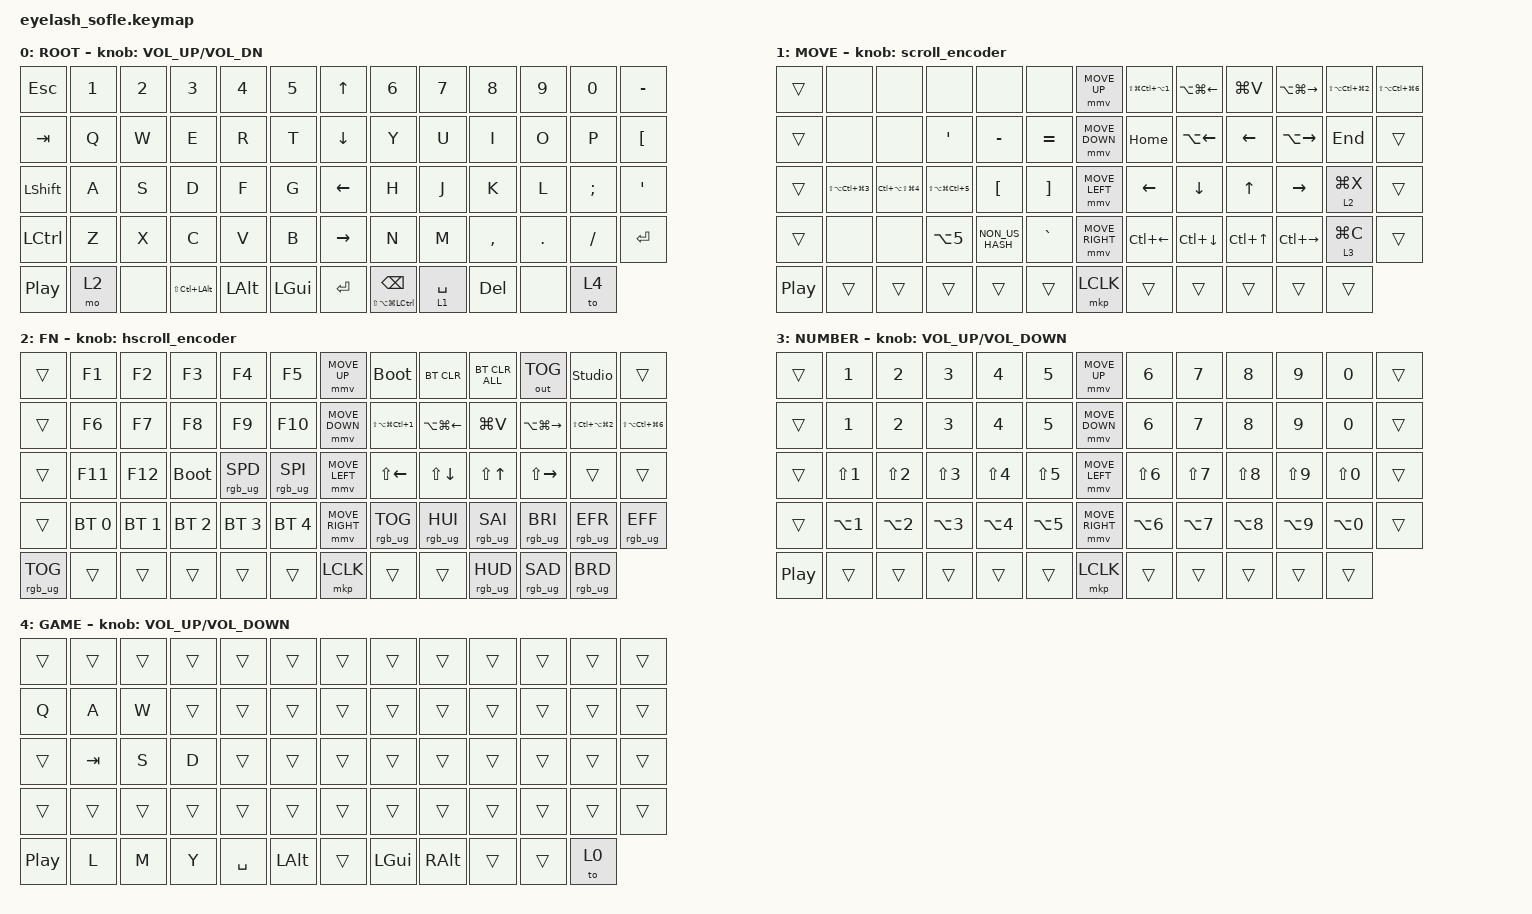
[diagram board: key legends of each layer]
#define ZMK_POINTING_DEFAULT_MOVE_VAL 1200  // 600
#define ZMK_POINTING_DEFAULT_SCRL_VAL 25   // 10

#include <input/processors.dtsi>
#include <zephyr/dt-bindings/input/input-event-codes.h>
#include <behaviors.dtsi>
#include <dt-bindings/zmk/bt.h>
#include <dt-bindings/zmk/keys.h>
#include <dt-bindings/zmk/outputs.h>
#include <dt-bindings/zmk/pointing.h>
#include <dt-bindings/zmk/rgb.h>

&mmv_input_listener { input-processors = <&zip_xy_scaler 2 1>; };

&msc_input_listener { input-processors = <&zip_scroll_scaler 2 1>; };

&msc {
    acceleration-exponent = <1>;      // 0
    time-to-max-speed-ms = <100>;       // 300
    delay-ms = <0>;                   // 0
};

&mmv {
    time-to-max-speed-ms = <500>;
    acceleration-exponent = <1>;
    trigger-period-ms = <16>;
};

&soft_off { hold-time-ms = <2000>; };

/ {
    scroll_encoder: scroll_encoder {
        compatible = "zmk,behavior-sensor-rotate";
        #sensor-binding-cells = <0>;
        bindings = <&msc SCRL_DOWN>, <&msc SCRL_UP>;

        tap-ms = <100>;
    };

    hscroll_encoder: hscroll_encoder {
        compatible = "zmk,behavior-sensor-rotate";
        #sensor-binding-cells = <0>;
        bindings = <&msc SCRL_RIGHT>, <&msc SCRL_LEFT>;

        tap-ms = <100>;
    };

    behaviors {
    };

    combos {
        compatible = "zmk,combos";

        game {
            bindings = <&tog 4>;
            key-positions = <0 12>;
        };

        mo_number {
            bindings = <&mo 3>;
            key-positions = <56 60>;
        };

        mo_game {
            bindings = <&mo 4>;
            key-positions = <59 38>;
        };

        soft_off {
            bindings = <&soft_off>;
            key-positions = <14 28 40>;
        };
    };

    macros {
        SHIFT_MCLK: SHIFT_MCLK {
            compatible = "zmk,behavior-macro";
            #binding-cells = <0>;
            bindings =
                <&macro_press>,
                <&kp LEFT_SHIFT>,
                <&macro_press>,
                <&mkp MB3>,
                <&macro_pause_for_release>,
                <&macro_release>,
                <&kp LEFT_SHIFT &mkp MB3>;

            label = "SHIFT_MCLK";
        };
    };

    keymap {
        compatible = "zmk,keymap";

        root {
            bindings = <
&kp ESC           &kp N1  &kp N2  &kp N3                &kp N4    &kp N5      &kp UP_ARROW     &kp N6                                  &kp N7       &kp N8      &kp N9   &kp N0    &kp MINUS
&kp TAB           &kp Q   &kp W   &kp E                 &kp R     &kp T       &kp DOWN_ARROW   &kp Y                                   &kp U        &kp I       &kp O    &kp P     &kp LBKT
&kp LSHFT         &kp A   &kp S   &kp D                 &kp F     &kp G       &kp LEFT_ARROW   &kp H                                   &kp J        &kp K       &kp L    &kp SEMI  &kp APOS
&kp LCTRL         &kp Z   &kp X   &kp C                 &kp V     &kp B       &kp RIGHT_ARROW  &kp N                                   &kp M        &kp COMMA   &kp DOT  &kp FSLH  &kp ENTER
&kp C_PLAY_PAUSE  &mo 2   &none   &kp LS(LC(LEFT_ALT))  &kp LALT  &kp LGUI    &kp ENTER        &mt LS(LA(LG(LEFT_CONTROL))) BACKSPACE  &lt 1 SPACE  &kp DELETE  &none    &to 4
            >;

            sensor-bindings = <&inc_dec_kp C_VOLUME_UP C_VOL_DN>;
            display-name = "ROOT";
        };

        move {
            bindings = <
&trans            &none                   &none                   &none                   &none            &none        &mmv MOVE_UP     &kp LS(LG(LC(LA(N1))))  &kp LA(LG(LEFT_ARROW))  &kp LG(V)   &kp LA(LG(RIGHT_ARROW))  &kp LS(LA(LC(LG(N2))))  &kp LS(LA(LC(LG(N6))))
&trans            &none                   &none                   &kp APOS                &kp MINUS        &kp EQUAL    &mmv MOVE_DOWN   &kp HOME                &kp LA(LEFT)            &kp LEFT    &kp LA(RIGHT_ARROW)      &kp END                 &trans
&trans            &kp LS(LA(LC(LG(N3))))  &kp LC(LA(LS(LG(N4))))  &kp LS(LA(LG(LC(N5))))  &kp LBKT         &kp RBKT     &mmv MOVE_LEFT   &kp LEFT                &kp DOWN                &kp UP      &kp RIGHT                &lt 2 LG(X)             &trans
&trans            &none                   &none                   &kp LA(N5)              &kp NON_US_HASH  &kp GRAVE    &mmv MOVE_RIGHT  &kp LC(LEFT)            &kp LC(DOWN)            &kp LC(UP)  &kp LC(RIGHT)            &lt 3 LG(C)             &trans
&kp C_PLAY_PAUSE  &trans                  &trans                  &trans                  &trans           &trans       &mkp LCLK        &trans                  &trans                  &trans      &trans                   &trans
            >;

            display-name = "MOVE";
            sensor-bindings = <&scroll_encoder>;
        };

        fn {
            bindings = <
&trans           &kp F1        &kp F2        &kp F3        &kp F4           &kp F5             &mmv MOVE_UP     &bootloader             &bt BT_CLR              &bt BT_CLR_ALL   &out OUT_TOG             &studio_unlock          &trans
&trans           &kp F6        &kp F7        &kp F8        &kp F9           &kp F10            &mmv MOVE_DOWN   &kp LS(LA(LG(LC(N1))))  &kp LA(LG(LEFT_ARROW))  &kp LG(V)        &kp LA(LG(RIGHT_ARROW))  &kp LS(LC(LA(LG(N2))))  &kp LS(LA(LC(LG(N6))))
&trans           &kp F11       &kp F12       &bootloader   &rgb_ug RGB_SPD  &rgb_ug RGB_SPI    &mmv MOVE_LEFT   &kp LS(LEFT)            &kp LS(DOWN)            &kp LS(UP)       &kp LS(RIGHT)            &trans                  &trans
&trans           &bt BT_SEL 0  &bt BT_SEL 1  &bt BT_SEL 2  &bt BT_SEL 3     &bt BT_SEL 4       &mmv MOVE_RIGHT  &rgb_ug RGB_TOG         &rgb_ug RGB_HUI         &rgb_ug RGB_SAI  &rgb_ug RGB_BRI          &rgb_ug RGB_EFR         &rgb_ug RGB_EFF
&rgb_ug RGB_TOG  &trans        &trans        &trans        &trans           &trans             &mkp LCLK        &trans                  &trans                  &rgb_ug RGB_HUD  &rgb_ug RGB_SAD          &rgb_ug RGB_BRD
            >;

            display-name = "FN";
            sensor-bindings = <&hscroll_encoder>;
        };

        number {
            display-name = "NUMBER";
            bindings = <
&trans            &kp N1      &kp N2      &kp N3      &kp N4      &kp N5        &mmv MOVE_UP     &kp N6      &kp N7      &kp N8      &kp N9      &kp N0      &trans
&trans            &kp N1      &kp N2      &kp N3      &kp N4      &kp N5        &mmv MOVE_DOWN   &kp N6      &kp N7      &kp N8      &kp N9      &kp N0      &trans
&trans            &kp LS(N1)  &kp LS(N2)  &kp LS(N3)  &kp LS(N4)  &kp LS(N5)    &mmv MOVE_LEFT   &kp LS(N6)  &kp LS(N7)  &kp LS(N8)  &kp LS(N9)  &kp LS(N0)  &trans
&trans            &kp LA(N1)  &kp LA(N2)  &kp LA(N3)  &kp LA(N4)  &kp LA(N5)    &mmv MOVE_RIGHT  &kp LA(N6)  &kp LA(N7)  &kp LA(N8)  &kp LA(N9)  &kp LA(N0)  &trans
&kp C_PLAY_PAUSE  &trans      &trans      &trans      &trans      &trans        &mkp LCLK        &trans      &trans      &trans      &trans      &trans
            >;

            sensor-bindings = <&inc_dec_kp C_VOLUME_UP C_VOLUME_DOWN>;
        };

        game {
            bindings = <
&trans            &trans   &trans  &trans  &trans     &trans          &trans  &trans        &trans         &trans  &trans  &trans  &trans
&kp Q             &kp A    &kp W   &trans  &trans     &trans          &trans  &trans        &trans         &trans  &trans  &trans  &trans
&trans            &kp TAB  &kp S   &kp D   &trans     &trans          &trans  &trans        &trans         &trans  &trans  &trans  &trans
&trans            &trans   &trans  &trans  &trans     &trans          &trans  &trans        &trans         &trans  &trans  &trans  &trans
&kp C_PLAY_PAUSE  &kp L    &kp M   &kp Y   &kp SPACE  &kp LEFT_ALT    &trans  &kp LEFT_GUI  &kp RIGHT_ALT  &trans  &trans  &to 0
            >;

            display-name = "GAME";
            sensor-bindings = <&inc_dec_kp C_VOLUME_UP C_VOLUME_DOWN>;
        };
    };
};
